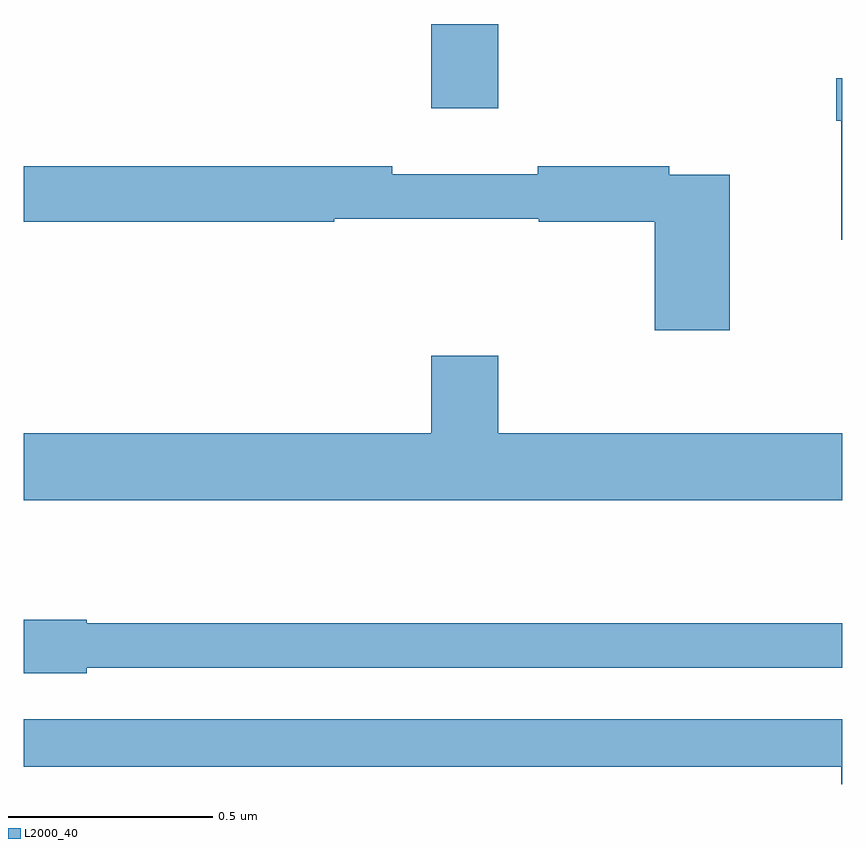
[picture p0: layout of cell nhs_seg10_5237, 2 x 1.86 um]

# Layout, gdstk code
import gdstk
lib = gdstk.Library(unit=1e-6, precision=1e-09)
def R(c, l, rs):  # rectangles x0, y0, x1, y1
    for r in rs: c.add(gdstk.rectangle(r[:2], r[2:], *l))
def P(c, l, *ps):  # polygons
    for p in ps: c.add(gdstk.Polygon(p, *l))
L2000_40 = (2000, 40)

nhs_seg10_5237 = lib.new_cell('nhs_seg10_5237')
R(nhs_seg10_5237, L2000_40, [(176.996,1281.294,177.16,1281.5)])
P(nhs_seg10_5237, L2000_40, [(178,1281.367),(177.986,1281.367),(177.986,1281.263),(177.998,1281.263),(177.998,1280.972),(178,1280.972)],
  [(177.725,1281.132),(177.578,1281.132),(177.578,1281.152),(177.256,1281.152),(177.256,1281.133),(176.9,1281.133),(176.9,1281.152),(176,1281.152),(176,1281.016),(176.758,1281.016),(176.758,1281.024),(177.258,1281.024),(177.258,1281.016),(177.542,1281.016),(177.542,1280.751),(177.725,1280.751)],
  [(178,1280.5),(177.16,1280.5),(177.16,1280.689),(176.996,1280.689),(176.996,1280.5),(176,1280.5),(176,1280.336),(178,1280.336)],
  [(176.154,1279.926),(178,1279.926),(178,1280.035),(176.154,1280.035),(176.154,1280.043),(176,1280.043),(176,1279.913),(176.154,1279.913)],
  [(178,1279.8),(176,1279.8),(176,1279.684),(177.998,1279.684),(177.998,1279.642),(178,1279.642)])

lib.write_gds('nhs_seg10_5237.gds')
